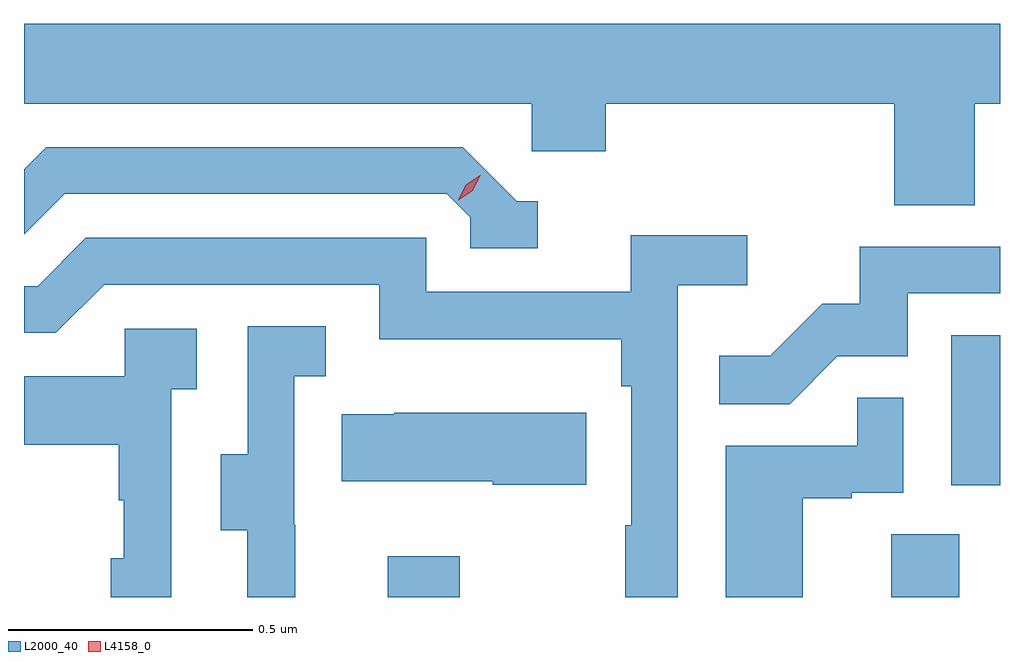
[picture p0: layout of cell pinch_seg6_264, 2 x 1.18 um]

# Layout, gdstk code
import gdstk
lib = gdstk.Library(unit=1e-6, precision=1e-09)
def R(c, l, rs):  # rectangles x0, y0, x1, y1
    for r in rs: c.add(gdstk.rectangle(r[:2], r[2:], *l))
def P(c, l, *ps):  # polygons
    for p in ps: c.add(gdstk.Polygon(p, *l))
L2000_40 = (2000, 40)
L4158_0 = (4158, 0)

pinch_seg6_264 = lib.new_cell('pinch_seg6_264')
R(pinch_seg6_264, L2000_40, [(1101.713,915.688,1101.861,915.772), (1102.745,915.688,1102.885,915.818), (1102.868,915.918,1102.968,916.225)])
P(pinch_seg6_264, L2000_40, [(1102.916,916.7),(1102.968,916.7),(1102.968,916.864),(1100.968,916.864),(1100.968,916.7),(1102.008,916.7),(1102.008,916.602),(1102.16,916.602),(1102.16,916.7),(1102.751,916.7),(1102.751,916.492),(1102.916,916.492)],
  [(1102.021,916.5),(1101.978,916.5),(1101.867,916.611),(1101.014,916.611),(1100.968,916.565),(1100.968,916.432),(1101.051,916.515),(1101.834,916.515),(1101.882,916.467),(1101.882,916.404),(1102.021,916.404)],
  [(1102.308,916.328),(1102.45,916.328),(1102.45,916.43),(1102.211,916.43),(1102.211,916.314),(1101.792,916.314),(1101.792,916.425),(1101.095,916.425),(1100.996,916.326),(1100.968,916.326),(1100.968,916.23),(1101.033,916.23),(1101.132,916.329),(1101.696,916.329),(1101.696,916.217),(1102.192,916.217),(1102.192,916.121),(1102.212,916.121),(1102.212,915.836),(1102.2,915.836),(1102.2,915.688),(1102.308,915.688)],
  [(1102.635,916.182),(1102.779,916.182),(1102.779,916.311),(1102.968,916.311),(1102.968,916.407),(1102.681,916.407),(1102.681,916.29),(1102.604,916.29),(1102.497,916.183),(1102.393,916.183),(1102.393,916.084),(1102.537,916.084)],
  [(1101.524,915.837),(1101.522,915.837),(1101.522,916.141),(1101.586,916.141),(1101.586,916.244),(1101.426,916.244),(1101.426,915.981),(1101.371,915.981),(1101.371,915.826),(1101.425,915.826),(1101.425,915.688),(1101.524,915.688)],
  [(1101.27,916.115),(1101.322,916.115),(1101.322,916.239),(1101.174,916.239),(1101.174,916.141),(1100.968,916.141),(1100.968,916.001),(1101.162,916.001),(1101.162,915.887),(1101.172,915.887),(1101.172,915.768),(1101.146,915.768),(1101.146,915.688),(1101.27,915.688)],
  [(1102.564,915.891),(1102.664,915.891),(1102.664,915.903),(1102.77,915.903),(1102.77,916.097),(1102.675,916.097),(1102.675,915.999),(1102.406,915.999),(1102.406,915.688),(1102.564,915.688)],
  [(1102.12,916.066),(1101.727,916.066),(1101.727,916.063),(1101.619,916.063),(1101.619,915.926),(1101.929,915.926),(1101.929,915.919),(1102.12,915.919)])
P(pinch_seg6_264, L4158_0, [(1101.858,916.502),(1101.858,916.502),(1101.873,916.534),(1101.904,916.554),(1101.904,916.554),(1101.904,916.554),(1101.888,916.521),(1101.858,916.502)])

lib.write_gds('pinch_seg6_264.gds')
